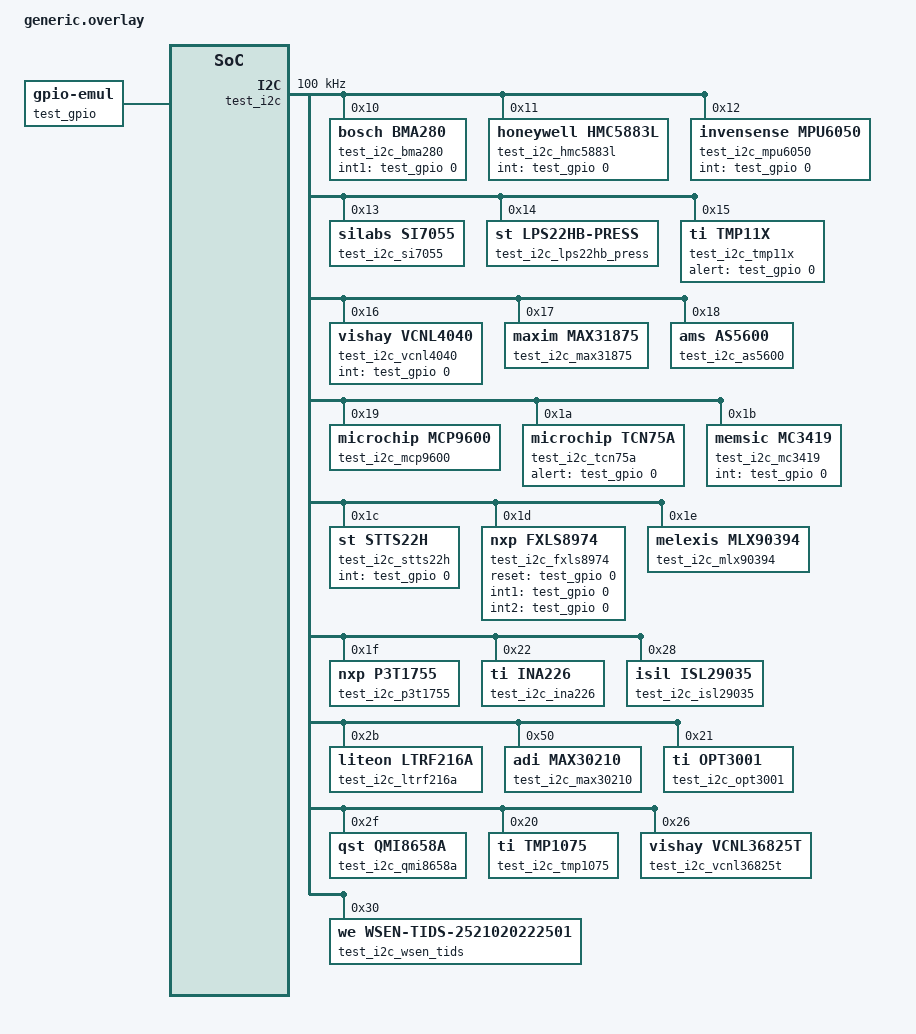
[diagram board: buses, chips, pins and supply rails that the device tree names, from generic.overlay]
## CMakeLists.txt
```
# SPDX-FileCopyrightText: Copyright The Zephyr Project Contributors
# SPDX-License-Identifier: Apache-2.0

cmake_minimum_required(VERSION 3.28.0)
find_package(Zephyr REQUIRED HINTS $ENV{ZEPHYR_BASE})
project(sensor_regmap)

if(CONFIG_GENERIC_SENSOR_TEST AND CONFIG_TEST_SENSOR_REGMAP_BASELINE)
  target_sources(app PRIVATE src/baseline.c)
elseif(CONFIG_GENERIC_SENSOR_TEST)
  target_sources(app PRIVATE ../../build_all/sensor/src/generic_test.c)
else()
  target_sources(app PRIVATE src/main.c src/registers.c)
endif()
```

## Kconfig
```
# SPDX-FileCopyrightText: Copyright The Zephyr Project Contributors
# SPDX-License-Identifier: Apache-2.0

rsource "../../build_all/sensor/Kconfig"

config TEST_SENSOR_REGMAP_BASELINE
	bool "Only exercise driver initialization for coverage comparison"
	default n
```

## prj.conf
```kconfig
# SPDX-FileCopyrightText: Copyright The Zephyr Project Contributors
# SPDX-License-Identifier: Apache-2.0

CONFIG_ZTEST=y
CONFIG_SENSOR=y
CONFIG_I2C=y
CONFIG_EMUL=y
CONFIG_EMUL_SENSOR_REGMAP=y
CONFIG_MPU6050_TRIGGER_NONE=y
CONFIG_TCN75A_TRIGGER_NONE=y
CONFIG_TMP11X_TRIGGER_NONE=y
CONFIG_MAIN_STACK_SIZE=4096
CONFIG_ZTEST_STACK_SIZE=4096
CONFIG_STTS751_TRIGGER_NONE=y
```

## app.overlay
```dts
/* SPDX-FileCopyrightText: Copyright The Zephyr Project Contributors
 * SPDX-License-Identifier: Apache-2.0
 */
/ {
	sensor_bus: sensor-i2c@100 {
		reg = <0x100 0x4>;
		compatible = "zephyr,i2c-emul-controller";
		#address-cells = <1>;
		#size-cells = <0>;
		clock-frequency = <100000>;
		lps: pressure@5c {
			compatible = "st,lps22hb-press";
			reg = <0x5c>;
		};
		mpu: imu@68 {
			compatible = "invensense,mpu6050";
			reg = <0x68>;
		};
		p3t: temperature@48 {
			compatible = "nxp,p3t1755";
			reg = <0x48>;
		};
		p3t_one: temperature@49 {
			compatible = "nxp,p3t1755";
			reg = <0x49>;
			oneshot-mode;
		};
		tcn: temperature@4a {
			compatible = "microchip,tcn75a";
			reg = <0x4a>;
			resolution = "12-bit";
		};
		tcn_one: temperature@4b {
			compatible = "microchip,tcn75a";
			reg = <0x4b>;
			oneshot-mode;
		};
		tmp: temperature@4c {
			compatible = "ti,tmp11x";
			reg = <0x4c>;
		};
	};
};
```

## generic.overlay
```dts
/* SPDX-FileCopyrightText: Copyright The Zephyr Project Contributors
 * SPDX-License-Identifier: Apache-2.0
 */
#include <zephyr/dt-bindings/sensor/tmp11x.h>
#include <zephyr/dt-bindings/sensor/stts22h.h>
/ {
	test_gpio: gpio-emul {
		compatible = "zephyr,gpio-emul";
		gpio-controller;
		#gpio-cells = <2>;
		ngpios = <16>;
	};
	test_i3c: unused-i3c {};
	test_spi: unused-spi {};
	test_i2c: sensor-i2c@100 {
		compatible = "zephyr,i2c-emul-controller";
		reg = <0x100 0x4>;
		#address-cells = <1>;
		#size-cells = <0>;
		clock-frequency = <100000>;
		test_i2c_bma280: bma280@10 {
			compatible = "bosch,bma280";
			reg = <0x10>;
			int1-gpios = <&test_gpio 0 0>;
		};
		test_i2c_hmc5883l: hmc5883l@11 {
			compatible = "honeywell,hmc5883l";
			reg = <0x11>;
			int-gpios = <&test_gpio 0 0>;
		};
		test_i2c_mpu6050: mpu6050@12 {
			compatible = "invensense,mpu6050";
			reg = <0x12>;
			int-gpios = <&test_gpio 0 0>;
		};
		test_i2c_si7055: si7055@13 {
			compatible = "silabs,si7055";
			reg = <0x13>;
		};
		test_i2c_lps22hb_press: lps22hb-press@14 {
			compatible = "st,lps22hb-press";
			reg = <0x14>;
		};
		test_i2c_tmp11x: tmp11x@15 {
			compatible = "ti,tmp11x";
			reg = <0x15>;
			odr = <TMP11X_DT_ODR_125_MS>;
			oversampling = <TMP11X_DT_OVERSAMPLING_32>;
			alert-gpios = <&test_gpio 0 0>;
		};
		test_i2c_vcnl4040: vcnl4040@16 {
			compatible = "vishay,vcnl4040";
			reg = <0x16>;
			int-gpios = <&test_gpio 0 0>;
		};
		test_i2c_max31875: max31875@17 {
			compatible = "maxim,max31875";
			reg = <0x17>;
		};
		test_i2c_as5600: as5600@18 {
			compatible = "ams,as5600";
			reg = <0x18>;
		};
		test_i2c_mcp9600: mcp9600@19 {
			compatible = "microchip,mcp9600";
			reg = <0x19>;
		};
		test_i2c_tcn75a: tcn75a@1a {
			compatible = "microchip,tcn75a";
			reg = <0x1a>;
			alert-gpios = <&test_gpio 0 0>;
		};
		test_i2c_mc3419: mc3419@1b {
			compatible = "memsic,mc3419";
			reg = <0x1b>;
			int-gpios = <&test_gpio 0 0>;
		};
		test_i2c_stts22h: stts22h@1c {
			compatible = "st,stts22h";
			reg = <0x1c>;
			int-gpios = <&test_gpio 0 0>;
			sampling-rate = <STTS22H_100Hz>;
		};
		test_i2c_fxls8974: fxls8974@1d {
			compatible = "nxp,fxls8974";
			reg = <0x1d>;
			reset-gpios = <&test_gpio 0 0>;
			int1-gpios = <&test_gpio 0 0>;
			int2-gpios = <&test_gpio 0 0>;
		};
		test_i2c_mlx90394: mlx90394@1e {
			compatible = "melexis,mlx90394";
			status = "okay";
			reg = <0x1e>;
		};
		test_i2c_p3t1755: p3t1755@1f {
			compatible = "nxp,p3t1755";
			reg = <0x1f>;
		};
		test_i2c_ina226: ina226@22 {
			compatible = "ti,ina226";
			reg = <0x22>;
			current-lsb-microamps = <100>;
			rshunt-micro-ohms = <100000>;
		};
		test_i2c_isl29035: isl29035@28 {
			compatible = "isil,isl29035";
			reg = <0x28>;
		};
		test_i2c_ltrf216a: ltrf216a@2b {
			compatible = "liteon,ltrf216a";
			reg = <0x2b>;
		};
		test_i2c_max30210: max30210@50 {
			compatible = "adi,max30210";
			reg = <0x50>;
		};
		test_i2c_opt3001: opt3001@21 {
			compatible = "ti,opt3001";
			reg = <0x21>;
		};
		test_i2c_qmi8658a: qmi8658a@2f {
			compatible = "qst,qmi8658a";
			reg = <0x2f>;
		};
		test_i2c_tmp1075: tmp1075@20 {
			compatible = "ti,tmp1075";
			reg = <0x20>;
		};
		test_i2c_vcnl36825t: vcnl36825t@26 {
			compatible = "vishay,vcnl36825t";
			reg = <0x26>;
		};
		test_i2c_wsen_tids: wsen_tids@30 {
			compatible = "we,wsen-tids-2521020222501";
			reg = <0x30>;
			odr = <25>;
		};
	};
};
```

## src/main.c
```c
/* SPDX-FileCopyrightText: Copyright The Zephyr Project Contributors
 * SPDX-License-Identifier: Apache-2.0
 */
#include <zephyr/drivers/sensor/tmp11x.h>
#include <zephyr/ztest.h>
#include <zephyr/drivers/emul_sensor_regmap.h>
#include <zephyr/drivers/emul_sensor.h>
#include <zephyr/drivers/i2c_emul.h>

#define SENSOR_CASE(node) {DEVICE_DT_GET(DT_NODELABEL(node)), EMUL_DT_GET(DT_NODELABEL(node))}
static const struct {
	const struct device *dev;
	const struct emul *emul;
} sensors[] = {
	SENSOR_CASE(lps), SENSOR_CASE(mpu), SENSOR_CASE(p3t), SENSOR_CASE(p3t_one),
	SENSOR_CASE(tcn), SENSOR_CASE(tcn_one), SENSOR_CASE(tmp),
};

ZTEST(sensor_regmap, test_ready)
{
	for (size_t i = 0; i < ARRAY_SIZE(sensors); i++) {
		zassert_true(device_is_ready(sensors[i].dev), "%s", sensors[i].dev->name);
	}
}

#if !defined(CONFIG_TEST_SENSOR_REGMAP_BASELINE)
static void check_sample(const struct device *dev, const struct emul *emul,
			 enum sensor_channel channel, double expected)
{
	const struct emul_sensor_regmap *cfg = emul->cfg;
	struct sensor_chan_spec ch = {.chan_type = channel};
	struct sensor_value result;
	q31_t low, high, epsilon;
	int8_t shift;
	q31_t input;
	double scale = 2147483648.0;

	zassert_ok(emul_sensor_backend_get_sample_range(emul, ch, &low, &high, &epsilon, &shift));
	for (int8_t i = 0; i < shift; i++) {
		scale /= 2;
	}
	input = expected * scale;
	zassert_ok(emul_sensor_backend_set_channel(emul, ch, &input, shift));
	zassert_ok(sensor_sample_fetch(dev), "%s", dev->name);
	zassert_ok(sensor_channel_get(dev, channel, &result));
	zassert_within(sensor_value_to_double(&result), expected, 2.0 * epsilon / scale + 0.000002,
		       "%s channel %d expected %d micro, got %lld micro (%u channels)",
		       dev->name, channel, (int)(expected * 1000000),
		       sensor_value_to_micro(&result), (unsigned int)cfg->num_channels);
}

static void check_sensor(size_t i)
{
	const struct emul_sensor_regmap *cfg = sensors[i].emul->cfg;

	for (size_t c = 0; c < cfg->num_channels; c++) {
		struct emul_sensor_channel ch = cfg->channels[c];
		double values[] = {-10.5, -0.5, 0, 0.5, 25.5};

		struct sensor_chan_spec spec = {.chan_type = ch.chan};
		q31_t lower, upper, epsilon;
		int8_t shift;

		zassert_ok(emul_sensor_backend_get_sample_range(sensors[i].emul, spec,
							      &lower, &upper, &epsilon, &shift));
		double scale = (double)BIT64(shift) / 2147483648.0;

		for (size_t v = 0; v < ARRAY_SIZE(values); v++) {
			double input = ch.chan == SENSOR_CHAN_PRESS ? 100 + values[v] :
				       CLAMP(values[v], lower * scale / 2, upper * scale / 2);

			check_sample(sensors[i].dev, sensors[i].emul, ch.chan, input);
		}
	}
}

ZTEST(sensor_regmap, test_lps22hb_samples)
{
	check_sensor(0);
}

ZTEST(sensor_regmap, test_mpu6050_samples)
{
	check_sensor(1);
}

ZTEST(sensor_regmap, test_p3t1755_samples)
{
	check_sensor(2);
	check_sensor(3);
}

ZTEST(sensor_regmap, test_tcn75a_samples)
{
	struct emul_sensor_regmap_data *data = sensors[5].emul->data;

	check_sensor(4);
	check_sensor(5);
	zassert_equal(data->regs[1] & 1U, 1, "One-shot must return to shutdown");
}

ZTEST(sensor_regmap, test_tmp11x_samples)
{
	check_sensor(6);
}

static int bus_error(const struct emul *target, struct i2c_msg *msgs, int count, int addr)
{
	ARG_UNUSED(target);
	ARG_UNUSED(msgs);
	ARG_UNUSED(count);
	ARG_UNUSED(addr);
	return -EIO;
}

ZTEST(sensor_regmap, test_bus_failure_and_recovery)
{
	static struct i2c_emul_api failing_api = {.transfer = bus_error};

	for (size_t i = 0; i < ARRAY_SIZE(sensors); i++) {
		struct i2c_emul *bus = sensors[i].emul->bus.i2c;
		int ret;

		bus->mock_api = &failing_api;
		ret = sensor_sample_fetch(sensors[i].dev);
		bus->mock_api = NULL;
		zassert_true(ret < 0, "%s swallowed bus failure", sensors[i].dev->name);
		check_sample(sensors[i].dev, sensors[i].emul,
			     i == 0U ? SENSOR_CHAN_PRESS :
			     i == 1U ? SENSOR_CHAN_ACCEL_X : SENSOR_CHAN_AMBIENT_TEMP,
			     i == 0U ? 100 : 0);
	}
}

ZTEST(sensor_regmap, test_unsupported_channel)
{
	for (size_t i = 0; i < ARRAY_SIZE(sensors); i++) {
		struct sensor_value value;

		zassert_equal(sensor_channel_get(sensors[i].dev, SENSOR_CHAN_LIGHT, &value),
			      -ENOTSUP);
		if (i >= 2U && i < 6U) {
			zassert_equal(sensor_sample_fetch_chan(sensors[i].dev, SENSOR_CHAN_LIGHT),
				      -ENOTSUP);
		}
	}
}

ZTEST(sensor_regmap, test_tmp11x_attributes)
{
	const struct device *dev = DEVICE_DT_GET(DT_NODELABEL(tmp));
	struct sensor_value val;
	const int averages[] = {1, 8, 32, 64};

	for (size_t i = 0; i < ARRAY_SIZE(averages); i++) {
		val = (struct sensor_value){.val1 = averages[i]};
		zassert_ok(sensor_attr_set(dev, SENSOR_CHAN_AMBIENT_TEMP,
					  SENSOR_ATTR_OVERSAMPLING, &val));
		zassert_ok(sensor_attr_get(dev, SENSOR_CHAN_AMBIENT_TEMP,
					  SENSOR_ATTR_CONFIGURATION, &val));
		zassert_equal((val.val1 >> 5) & 3, i);
	}
	val = (struct sensor_value){.val1 = 3};
	zassert_equal(sensor_attr_set(dev, SENSOR_CHAN_AMBIENT_TEMP,
				     SENSOR_ATTR_OVERSAMPLING, &val), -EINVAL);
	val = (struct sensor_value){.val1 = -2};
	if (IS_ENABLED(CONFIG_SENSOR_EMUL_TMP116)) {
		zassert_equal(sensor_attr_set(dev, SENSOR_CHAN_AMBIENT_TEMP,
					  SENSOR_ATTR_OFFSET, &val),
			      -EINVAL);
	} else {
		zassert_ok(sensor_attr_set(dev, SENSOR_CHAN_AMBIENT_TEMP,
					  SENSOR_ATTR_OFFSET, &val));
		zassert_ok(sensor_attr_get(dev, SENSOR_CHAN_AMBIENT_TEMP,
					  SENSOR_ATTR_OFFSET, &val));
		zassert_equal(val.val1, -2);
		val.val1 = 0;
		zassert_ok(sensor_attr_set(dev, SENSOR_CHAN_AMBIENT_TEMP,
					  SENSOR_ATTR_OFFSET, &val));
	}
	zassert_equal(sensor_attr_set(dev, SENSOR_CHAN_LIGHT, SENSOR_ATTR_OFFSET, &val), -ENOTSUP);
	zassert_equal(sensor_attr_get(dev, SENSOR_CHAN_LIGHT, SENSOR_ATTR_OFFSET, &val), -ENOTSUP);
	zassert_equal(sensor_attr_set(dev, SENSOR_CHAN_AMBIENT_TEMP, SENSOR_ATTR_HYSTERESIS, &val),
		      -ENOTSUP);
	zassert_equal(sensor_attr_get(dev, SENSOR_CHAN_AMBIENT_TEMP, SENSOR_ATTR_HYSTERESIS, &val),
		      -ENOTSUP);
}

ZTEST(sensor_regmap, test_tmp11x_eeprom)
{
	const struct device *dev = DEVICE_DT_GET(DT_NODELABEL(tmp));
	uint16_t written[] = {0xa55a, 0x1234};
	uint16_t readback[2];

	zassert_ok(tmp11x_eeprom_write(dev, 0, written, sizeof(written)));
	zassert_ok(tmp11x_eeprom_read(dev, 0, readback, sizeof(readback)));
	zassert_mem_equal(written, readback, sizeof(written));
	zassert_equal(tmp11x_eeprom_write(dev, 1, written, 2), -EINVAL);
	zassert_equal(tmp11x_eeprom_read(dev, 8, readback, 2), -EINVAL);
	zassert_equal(tmp11x_eeprom_read(dev, 0, readback, 1), -EINVAL);
}
#endif

ZTEST_SUITE(sensor_regmap, NULL, NULL, NULL, NULL, NULL);
```

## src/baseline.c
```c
/* SPDX-FileCopyrightText: Copyright The Zephyr Project Contributors
 * SPDX-License-Identifier: Apache-2.0
 */
#include <zephyr/device.h>
#include <zephyr/ztest.h>

#define CHECK_READY(node) zassert_true(device_is_ready(DEVICE_DT_GET(node)));

ZTEST(sensor_baseline, test_ready)
{
	DT_FOREACH_CHILD_STATUS_OKAY(DT_NODELABEL(test_i2c), CHECK_READY)
}

ZTEST_SUITE(sensor_baseline, NULL, NULL, NULL, NULL, NULL);
```

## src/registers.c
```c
/* SPDX-FileCopyrightText: Copyright The Zephyr Project Contributors
 * SPDX-License-Identifier: Apache-2.0
 */
#include <zephyr/ztest.h>
#include <zephyr/drivers/emul_sensor_regmap.h>
#include <zephyr/drivers/emul_sensor.h>
#include <zephyr/drivers/i2c_emul.h>

#if !defined(CONFIG_TEST_SENSOR_REGMAP_BASELINE)
static double inputs[8];
static bool valid[8];
static struct emul_sensor_regmap_data state;
static struct emul model;

static void use_model(const struct emul *source)
{
	memset(&state, 0, sizeof(state));
	memset(valid, 0, sizeof(valid));
	state.inputs = inputs;
	state.valid = valid;
	model = (struct emul){.cfg = source->cfg, .data = &state,
		.backend_api = &emul_sensor_regmap_backend_api};
	zassert_ok(emul_sensor_regmap_init(&model, NULL));
}

#define USE(node) use_model(EMUL_DT_GET(DT_NODELABEL(node)))

static int transfer(struct i2c_msg *msgs, int count)
{
	return emul_sensor_regmap_i2c_api.transfer(&model, msgs, count, 0x48);
}

static void write_bytes(uint8_t *buf, size_t len)
{
	struct i2c_msg msg = {.buf = buf, .len = len, .flags = I2C_MSG_STOP};

	zassert_ok(transfer(&msg, 1));
}

static void write8(uint8_t reg, uint8_t value)
{
	uint8_t buf[] = {reg, value};

	write_bytes(buf, sizeof(buf));
}

static void write16(uint8_t reg, uint16_t value)
{
	uint8_t buf[] = {reg, value >> 8, value & 0xff};

	write_bytes(buf, sizeof(buf));
}

static void read_bytes(uint8_t reg, uint8_t *buf, size_t len)
{
	struct i2c_msg msgs[] = {
		{.buf = &reg, .len = 1},
		{.buf = buf, .len = len, .flags = I2C_MSG_READ | I2C_MSG_RESTART | I2C_MSG_STOP},
	};

	zassert_ok(transfer(msgs, ARRAY_SIZE(msgs)));
}

static uint16_t read16(uint8_t reg)
{
	uint8_t buf[2];

	read_bytes(reg, buf, sizeof(buf));
	return ((uint16_t)buf[0] << 8) | buf[1];
}

static uint8_t read8(uint8_t reg)
{
	uint8_t value;

	read_bytes(reg, &value, 1);
	return value;
}

static void inject(enum sensor_channel channel, double value)
{
	struct sensor_chan_spec ch = {.chan_type = channel};
	q31_t q = value * 8388608;

	zassert_ok(emul_sensor_backend_set_channel(&model, ch, &q, 8));
}

ZTEST(register_model, test_pointer_and_split_write)
{
	uint8_t pointer = 2;
	uint8_t value[] = {0x12, 0x3f};
	uint8_t result[2];
	struct i2c_msg msgs[] = {
		{.buf = &pointer, .len = 1},
		{.buf = value, .len = 2, .flags = I2C_MSG_STOP},
	};
	struct i2c_msg read = {.buf = result, .len = 2, .flags = I2C_MSG_READ | I2C_MSG_STOP};

	USE(p3t);
	zassert_ok(transfer(msgs, 2));
	zassert_ok(transfer(&read, 1));
	zassert_equal(result[0], 0x12);
	zassert_equal(result[1], 0x30);
	zassert_ok(transfer(&read, 1));
	zassert_equal(result[0], 0x12);
	zassert_equal(result[1], 0x30);
}

ZTEST(register_model, test_read_only_and_reserved)
{
	uint8_t address = 0xff;
	uint8_t value;
	struct i2c_msg msgs[] = {
		{.buf = &address, .len = 1},
		{.buf = &value, .len = 1, .flags = I2C_MSG_READ | I2C_MSG_STOP},
	};

	USE(mpu);
	write8(0x75, 0);
	zassert_equal(read8(0x75), 0x68);
	write8(0x1a, 0xff);
	zassert_equal(read8(0x1a), 0x3f);
	zassert_equal(transfer(msgs, 2), -EIO);
	address = 0x13;
	zassert_equal(transfer(msgs, 2), -EIO);
}

ZTEST(register_model, test_invalid_messages)
{
	uint8_t buf[] = {0};
	struct i2c_msg msg = {.buf = buf, .len = 0};

	USE(p3t);
	zassert_equal(transfer(NULL, 1), -EINVAL);
	zassert_equal(transfer(&msg, 0), -EINVAL);
	zassert_equal(transfer(&msg, 1), -EINVAL);
	msg.len = 1;
	msg.buf = NULL;
	zassert_equal(transfer(&msg, 1), -EINVAL);
	msg.buf = buf;
	msg.flags = I2C_MSG_ADDR_10_BITS;
	zassert_equal(transfer(&msg, 1), -EINVAL);
}

ZTEST(register_model, test_p3t1755_power_and_resolution)
{
	USE(p3t);
	zassert_equal(read8(1), 0x28);
	zassert_equal(read16(2), 0x4b00);
	zassert_equal(read16(3), 0x5000);
	for (uint8_t resolution = 0; resolution < 4U; resolution++) {
		write8(1, resolution << 5);
		inject(SENSOR_CHAN_AMBIENT_TEMP, -0.0625);
		zassert_equal(read16(0), 0xfff0);
	}
	write8(1, 1);
	inject(SENSOR_CHAN_AMBIENT_TEMP, 25);
	zassert_equal(read16(0), 0xfff0);
	write8(1, 0x81);
	zassert_equal(read8(1), 1);
	zassert_equal(read16(0), 0x1900);
	inject(SENSOR_CHAN_AMBIENT_TEMP, 30);
	zassert_equal(read16(0), 0x1900);
}

ZTEST(register_model, test_tcn75a_resolution_and_one_shot)
{
	USE(tcn);
	zassert_equal(read16(2), 0x4b00);
	zassert_equal(read16(3), 0x5000);
	for (uint8_t resolution = 0; resolution < 4U; resolution++) {
		write8(1, resolution << 5);
		inject(SENSOR_CHAN_AMBIENT_TEMP, 25.0625);
		zassert_equal(read16(0),
			      resolution == 3U ? 0x1910 : resolution == 2U ? 0x1920 : 0x1900);
	}
	write16(2, 0xffff);
	zassert_equal(read16(2), 0xff80);
	write8(1, 1);
	inject(SENSOR_CHAN_AMBIENT_TEMP, -0.5);
	write8(1, 0x81);
	zassert_equal(read8(1), 1);
	zassert_equal(read16(0), 0xff80);
	inject(SENSOR_CHAN_AMBIENT_TEMP, 40);
	zassert_equal(read16(0), 0xff80);
}

ZTEST(register_model, test_lps22hb_increment_bdu_and_reset)
{
	uint8_t buf[3];

	USE(lps);
	zassert_equal(read8(0x0f), 0xb1);
	zassert_equal(read8(0x11), 0x10);
	inject(SENSOR_CHAN_PRESS, 100);
	read_bytes(0x28, buf, 3);
	zassert_mem_equal(buf, ((uint8_t[]){0, 0, 0}), 3);
	write8(0x11, 0x11);
	zassert_equal(read8(0x11), 0x10);
	read_bytes(0x28, buf, 3);
	zassert_mem_equal(buf, ((uint8_t[]){0, 0x80, 0x3e}), 3);
	write8(0x10, 0x32);
	inject(SENSOR_CHAN_PRESS, 101);
	inject(SENSOR_CHAN_PRESS, 102);
	read_bytes(0x28, buf, 3);
	zassert_mem_equal(buf, ((uint8_t[]){0, 0x20, 0x3f}), 3);
	zassert_equal(read8(0x27) & 1U, 0);
	write8(0x11, 0);
	read_bytes(0x29, buf, 3);
	zassert_mem_equal(buf, ((uint8_t[]){0x20, 0x20, 0x20}), 3);
	write8(0x11, 4);
	zassert_equal(read8(0x10), 0);
	zassert_equal(read8(0x11), 0x10);
}

ZTEST(register_model, test_mpu6050_scale_sleep_status_and_reset)
{
	USE(mpu);
	inject(SENSOR_CHAN_ACCEL_X, 9.80665);
	zassert_equal(read16(0x3b), 0);
	write8(0x6b, 0);
	for (uint8_t fs = 0; fs < 4U; fs++) {
		write8(0x1c, fs << 3);
		inject(SENSOR_CHAN_ACCEL_X, 9.80665);
		zassert_equal(read16(0x3b), 16384U >> fs);
	}
	inject(SENSOR_CHAN_DIE_TEMP, 36.53);
	zassert_equal(read16(0x41), 0);
	zassert_equal(read8(0x3a) & 1U, 1);
	zassert_equal(read8(0x3a), 0);
	write8(0x37, 0x10);
	inject(SENSOR_CHAN_ACCEL_Y, 0);
	read8(0x75);
	zassert_equal(read8(0x3a), 0);
	write8(0x6b, 0x80);
	zassert_equal(read8(0x6b), 0x40);
	zassert_equal(read8(0x1c), 0);
}

ZTEST(register_model, test_tmp11x_status_modes_and_offset)
{
	USE(tmp);
	zassert_equal(read16(0), 0x8000);
	zassert_equal(read16(1), 0x0220);
	write16(1, 0x0400);
	inject(SENSOR_CHAN_AMBIENT_TEMP, -0.5);
	zassert_equal(read16(0), 0x8000);
	write16(1, 0x0c00);
	zassert_equal(read16(1) & 0x2c00U, 0x2400);
	zassert_equal(read16(1) & 0x2000U, 0);
	zassert_equal(read16(0), 0xffc0);
	write16(1, 0x0800);
	zassert_equal(read16(1) & 0x0c00U, 0);
	if (!IS_ENABLED(CONFIG_SENSOR_EMUL_TMP116)) {
		write16(7, 128);
		inject(SENSOR_CHAN_AMBIENT_TEMP, 25);
		zassert_equal(read16(0), 26U * 128U);
		write16(1, 2);
		zassert_equal(read16(1), 0x0220);
	}
}

ZTEST(register_model, test_tmp11x_eeprom_lock)
{
	USE(tmp);
	write16(5, 0x1234);
	zassert_equal(read16(5), 0);
	write16(4, 0x8000);
	write16(5, 0x1234);
	zassert_equal(read16(5), 0x1234);
	write16(4, 0);
	write16(5, 0x5678);
	zassert_equal(read16(5), 0x1234);
}

ZTEST(register_model, test_backend_validation)
{
	struct sensor_chan_spec ch = {.chan_type = SENSOR_CHAN_AMBIENT_TEMP};
	q31_t value = INT32_MAX;

	USE(p3t);
	zassert_equal(emul_sensor_backend_set_channel(&model, ch, &value, 8), -ERANGE);
	zassert_equal(emul_sensor_backend_set_channel(&model, ch, NULL, 8), -EINVAL);
	zassert_equal(emul_sensor_backend_set_channel(&model, ch, &value, -32), -EINVAL);
	ch.chan_idx = 1;
	zassert_equal(emul_sensor_backend_set_channel(&model, ch, &value, 8), -ENOTSUP);
	ch.chan_idx = 0;
	ch.chan_type = SENSOR_CHAN_LIGHT;
	zassert_equal(emul_sensor_backend_set_channel(&model, ch, &value, 8), -ENOTSUP);
}

ZTEST(register_model, test_partial_word_write)
{
	uint8_t high[] = {2, 0x12};
	uint8_t low = 0x30;
	struct i2c_msg msgs[] = {
		{.buf = high, .len = 2},
		{.buf = &low, .len = 1, .flags = I2C_MSG_STOP},
	};

	USE(p3t);
	write_bytes(high, sizeof(high));
	zassert_equal(read16(2), 0x4b00);
	zassert_ok(transfer(msgs, 2));
	zassert_equal(read16(2), 0x1230);
}

ZTEST(register_model, test_invalid_description)
{
	struct emul_sensor_reg regs[] = {{.bytes = 5}};
	struct emul_sensor_regmap cfg = {.regs = regs, .num_regs = 1};

	USE(p3t);
	model.cfg = &cfg;
	zassert_equal(emul_sensor_regmap_init(&model, NULL), -EINVAL);
	cfg.num_regs = 0;
	zassert_equal(emul_sensor_regmap_init(&model, NULL), -EINVAL);
	cfg.num_regs = 257;
	zassert_equal(emul_sensor_regmap_init(&model, NULL), -EINVAL);
}

ZTEST(register_model, test_tmp11x_threshold_flags)
{
	USE(tmp);
	write16(2, 30U * 128U);
	write16(3, 20U * 128U);
	inject(SENSOR_CHAN_AMBIENT_TEMP, 35);
	zassert_equal(read16(1) & 0xe000U, 0xa000);
	zassert_equal(read16(1) & 0xe000U, 0);
	inject(SENSOR_CHAN_AMBIENT_TEMP, 15);
	zassert_equal(read16(1) & 0xe000U, 0x6000);
	write16(1, 0x10);
	inject(SENSOR_CHAN_AMBIENT_TEMP, 35);
	zassert_equal(read16(1) & 0xc000U, 0x8000);
	zassert_equal(read16(1) & 0xc000U, 0x8000);
	inject(SENSOR_CHAN_AMBIENT_TEMP, 25);
	zassert_equal(read16(1) & 0xc000U, 0x8000);
	inject(SENSOR_CHAN_AMBIENT_TEMP, 15);
	zassert_equal(read16(1) & 0xc000U, 0);
}

ZTEST(register_model, test_mpu6050_standby_and_signal_reset)
{
	USE(mpu);
	write8(0x6b, 0);
	inject(SENSOR_CHAN_ACCEL_X, 9.80665);
	write8(0x6c, 0x20);
	inject(SENSOR_CHAN_ACCEL_X, 0);
	zassert_equal(read16(0x3b), 16384);
	write8(0x6a, 1);
	zassert_equal(read8(0x6a), 0);
	zassert_equal(read16(0x3b), 0);
	write8(0x68, 7);
	zassert_equal(read8(0x68), 0);
}

ZTEST_SUITE(register_model, NULL, NULL, NULL, NULL, NULL);
#endif
```
